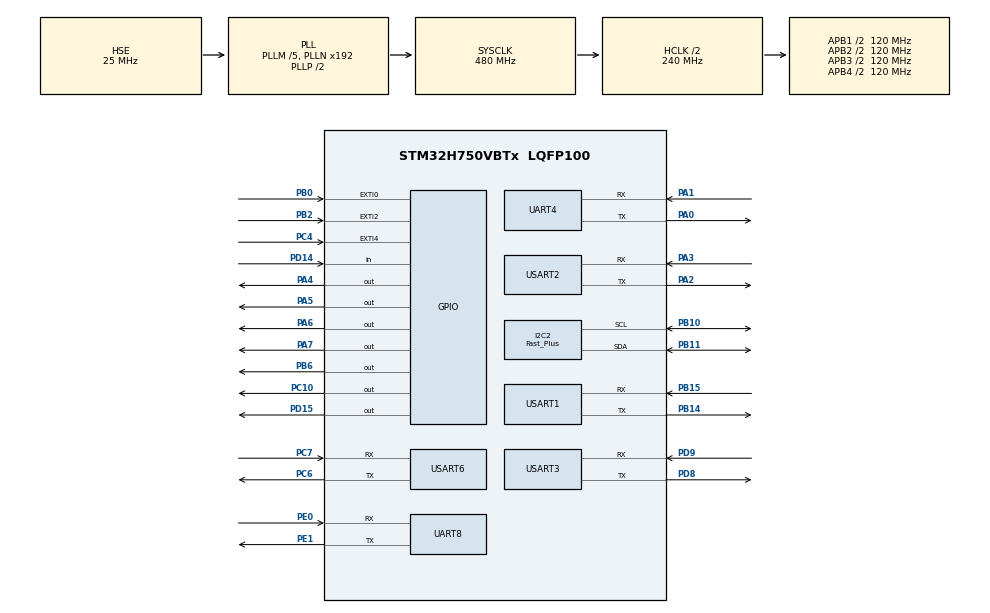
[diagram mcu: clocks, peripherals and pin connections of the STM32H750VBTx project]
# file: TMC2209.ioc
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CORTEX_M7.default_mode_Activation=1
I2C2.I2C_Speed_Mode=I2C_Fast_Plus
I2C2.Timing=0x0050174F
Mcu.Family=STM32H7
Mcu.Name=STM32H750VBTx
Mcu.Package=LQFP100
NVIC.EXTI0_IRQn=true\:0\:0\:false\:false\:true\:true\:true\:true
NVIC.EXTI2_IRQn=true\:0\:0\:false\:false\:true\:true\:true\:true
NVIC.EXTI4_IRQn=true\:0\:0\:false\:false\:true\:true\:true\:true
NVIC.PriorityGroup=NVIC_PRIORITYGROUP_4
NVIC.UART4_IRQn=true\:0\:0\:false\:false\:true\:true\:true\:true
NVIC.UART8_IRQn=true\:0\:0\:false\:false\:true\:true\:true\:true
NVIC.USART1_IRQn=true\:0\:0\:false\:false\:true\:true\:true\:true
NVIC.USART2_IRQn=true\:0\:0\:false\:false\:true\:true\:true\:true
NVIC.USART3_IRQn=true\:0\:0\:false\:false\:true\:true\:true\:true
NVIC.USART6_IRQn=true\:0\:0\:false\:false\:true\:true\:true\:true
PA0.Mode=Asynchronous
PA0.Signal=UART4_TX
PA1.Mode=Asynchronous
PA1.Signal=UART4_RX
PA13\ (JTMS/SWDIO).Mode=Serial_Wire
PA13\ (JTMS/SWDIO).Signal=DEBUG_JTMS-SWDIO
PA14\ (JTCK/SWCLK).Mode=Serial_Wire
PA14\ (JTCK/SWCLK).Signal=DEBUG_JTCK-SWCLK
PA2.Mode=Asynchronous
PA2.Signal=USART2_TX
PA3.Mode=Asynchronous
PA3.Signal=USART2_RX
PA4.GPIO_Speed=GPIO_SPEED_FREQ_VERY_HIGH
PA4.Signal=GPIO_Output
PA5.GPIO_Speed=GPIO_SPEED_FREQ_VERY_HIGH
PA5.Signal=GPIO_Output
PA6.GPIO_Speed=GPIO_SPEED_FREQ_VERY_HIGH
PA6.Signal=GPIO_Output
PA7.GPIO_Speed=GPIO_SPEED_FREQ_VERY_HIGH
PA7.Signal=GPIO_Output
PB0.GPIO_PuPd=GPIO_PULLUP
PB0.Signal=GPXTI0
PB10.Mode=I2C
PB10.Signal=I2C2_SCL
PB11.Mode=I2C
PB11.Signal=I2C2_SDA
PB14.Mode=Asynchronous
PB14.Signal=USART1_TX
PB15.Mode=Asynchronous
PB15.Signal=USART1_RX
PB2.GPIO_PuPd=GPIO_PULLUP
PB2.Signal=GPXTI2
PB6.GPIO_PuPd=GPIO_NOPULL
PB6.Signal=GPIO_Output
PC10.PinState=GPIO_PIN_SET
PC10.Signal=GPIO_Output
PC4.GPIO_PuPd=GPIO_PULLUP
PC4.Signal=GPXTI4
PC6.Mode=Asynchronous
PC6.Signal=USART6_TX
PC7.Mode=Asynchronous
PC7.Signal=USART6_RX
PD14.Signal=GPIO_Input
PD15.PinState=GPIO_PIN_SET
PD15.Signal=GPIO_Output
PD8.Mode=Asynchronous
PD8.Signal=USART3_TX
PD9.Mode=Asynchronous
PD9.Signal=USART3_RX
PE0.Mode=Asynchronous
PE0.Signal=UART8_RX
PE1.Mode=Asynchronous
PE1.Signal=UART8_TX
PH0-OSC_IN\ (PH0).Mode=HSE-External-Oscillator
PH0-OSC_IN\ (PH0).Signal=RCC_OSC_IN
PH1-OSC_OUT\ (PH1).Mode=HSE-External-Oscillator
PH1-OSC_OUT\ (PH1).Signal=RCC_OSC_OUT
ProjectManager.HeapSize=0x200
ProjectManager.StackSize=0x1000
ProjectManager.TargetToolchain=CMake
RCC.ADCFreq_Value=50390625
RCC.APB1Freq_Value=120000000
RCC.APB2Freq_Value=120000000
RCC.APB3Freq_Value=120000000
RCC.APB4Freq_Value=120000000
RCC.CortexFreq_Value=480000000
RCC.D1PPRE=RCC_APB3_DIV2
RCC.D2PPRE1=RCC_APB1_DIV2
RCC.D2PPRE2=RCC_APB2_DIV2
RCC.D3PPRE=RCC_APB4_DIV2
RCC.DIVM1=5
RCC.DIVN1=192
RCC.HCLKFreq_Value=240000000
RCC.HPRE=RCC_HCLK_DIV2
RCC.PLL2FRACN=0
RCC.PLL3FRACN=0
RCC.PLLFRACN=0
RCC.PLLSourceVirtual=RCC_PLLSOURCE_HSE
RCC.SYSCLKFreq_VALUE=480000000
RCC.SYSCLKSource=RCC_SYSCLKSOURCE_PLLCLK
RCC.USBFreq_Value=480000000
USART1.VirtualMode-Asynchronous=VM_ASYNC
USART2.VirtualMode-Asynchronous=VM_ASYNC
USART3.VirtualMode-Asynchronous=VM_ASYNC
USART6.VirtualMode=VM_ASYNC
VP_MEMORYMAP_VS_MEMORYMAP.Mode=CurAppReg
board=custom

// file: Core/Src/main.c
/* USER CODE BEGIN Header */
/**
  ******************************************************************************
  * @file           : main.c
  * @brief          : Main program body
  ******************************************************************************
  * @attention
  *
  * Copyright (c) 2025 STMicroelectronics.
  * All rights reserved.
  *
  * This software is licensed under terms that can be found in the LICENSE file
  * in the root directory of this software component.
  * If no LICENSE file comes with this software, it is provided AS-IS.
  *
  ******************************************************************************
  */
/* USER CODE END Header */
#include "main.h"
#include "i2c.h"
#include "memorymap.h"
#include "usart.h"
#include "gpio.h"

/* USER CODE BEGIN Includes */
#include <stdlib.h>
#include "math.h"
#include "TMC2209.h"
#include "Kalman.h"
#include "Zhangdatou.h"
#include "kalman_twice.h"
#include "stdarg.h"
#include "OLED.h"

#include "wit.h"
/* USER CODE END Includes */

/* USER CODE BEGIN PTD */
extern int lookup_table[];

#define CHEB_ORDER 6
#define X_MIN 0.000000f
#define X_MAX 6490.000000f
static const float cheb_coef[CHEB_ORDER+1] = {
    -836.2304769668f,
    -997.8101985323f,
    -13.4824721790f,
    -21.8237562184f,
    8.4930403253f,
    -10.0704451518f,
    6.1022329334f,
};

static inline float cheb_normalize(float x) {
    return (2.0f * x - (X_MAX + X_MIN)) / (X_MAX - X_MIN);
}

float cheb_eval(float x) {
    float xp = cheb_normalize(x);
    float T0 = 1.0f;
    float T1 = xp;
    float y = cheb_coef[0] * T0 + cheb_coef[1] * T1;
    for (int n = 2; n <= CHEB_ORDER; n++) {
        float Tn = 2.0f * xp * T1 - T0;
        y += cheb_coef[n] * Tn;
        T0 = T1;
        T1 = Tn;
    }
    return y-194.586731;
}

#define CHEB_ORDER2 6
#define X_MIN2 0.000000f
#define X_MAX2 6325.000000f
static const float cheb_coef2[CHEB_ORDER2+1] = {
    3055.9000644695f,
    2946.5198651746f,
    63.1994350443f,
    -198.8765504428f,
    -33.8485973053f,
    -131.5738849236f,
    -28.5150453190f,
};

static inline float cheb_normalize2(float x) {
    return (2.0f * x - (X_MAX2 + X_MIN2)) / (X_MAX2 - X_MIN2);
}

float cheb_eval2(float x) {
    float xp = cheb_normalize2(x);
    float T0 = 1.0f;
    float T1 = xp;
    float y = cheb_coef2[0] * T0 + cheb_coef2[1] * T1;
    for (int n = 2; n <= CHEB_ORDER2; n++) {
        float Tn = 2.0f * xp * T1 - T0;
        y += cheb_coef2[n] * Tn;
        T0 = T1;
        T1 = Tn;
    }
    return y-440.666595;
}

#include <math.h>

// Scaler parameters
float scaler_x_mean = 3162.5f;
float scaler_x_scale = 1826.1588786302248f;
float scaler_y_mean = 3037.9078406576036f;
float scaler_y_scale = 1788.344798268679f;

// Layer 0: 1 -> 10
float weights_0[1][10] = {
    {0.389808, -0.220694, -0.060530, 0.362304, -0.392653, -0.386696, -0.525085, 0.287447, 0.388318, -0.323335}
};
float biases_0[10] = {-0.154673, -0.076658, -0.136058, -0.081717, 0.143183, 0.106359, -0.078212, 0.059661, 0.084437, 0.027147};

// Layer 1: 10 -> 1
float weights_1[10][1] = {
    {0.445674},
    {-0.105056},
    {-0.673103},
    {0.569739},
    {-0.631793},
    {-0.440583},
    {0.071213},
    {-0.030064},
    {-0.067304},
    {-0.882389}
};
float biases_1[1] = {0.152199};

// tanh activation - 使用查表优化
#define TANH_TABLE_SIZE 2048
#define TANH_INPUT_RANGE 4.0f
static float tanh_table[TANH_TABLE_SIZE];

float fast_tanh(float x) {
    float abs_x = fabsf(x);
    if (abs_x >= TANH_INPUT_RANGE) return (x > 0) ? 1.0f : -1.0f;

    float scaled_x = (abs_x * TANH_TABLE_SIZE) / TANH_INPUT_RANGE;
    int index = (int)scaled_x;
    float frac = scaled_x - index;

    float y = tanh_table[index] +
              (index < TANH_TABLE_SIZE-1 ?
               (tanh_table[index+1] - tanh_table[index]) * frac : 0);

    return (x > 0) ? y : -y;
}

// 推理函数
float nn_predict(float input) {
    float x = (input - scaler_x_mean) / scaler_x_scale;
    float layer_0_out[10];

    // Layer 0
    for (int j = 0; j < 10; j++) {
        layer_0_out[j] = biases_0[j];
        layer_0_out[j] += weights_0[0][j] * x;
        layer_0_out[j] = fast_tanh(layer_0_out[j]);
    }

    // Layer 1
    float output = biases_1[0];
    for (int k = 0; k < 10; k++) {
        output += weights_1[k][0] * layer_0_out[k];
    }

    return output * scaler_y_scale + scaler_y_mean;
}

// 初始化tanh查找表
__attribute__((constructor))
void init_tanh_table() {
    for (int i = 0; i < TANH_TABLE_SIZE; i++) {
        float x = (float)i * TANH_INPUT_RANGE / TANH_TABLE_SIZE;
        tanh_table[i] = tanhf(x);
    }
}

void usart_printf(char *format,...)           //串口格式字符串输出
{
    int i =0;
    char String[100];         //定义输出字符串
    va_list arg;             //定义一个参数列表变量va_list是一个类型名，arg是变量名
    va_start(arg,format);     //从format位置开始接收参数表放在arg里面

    //sprintf打印位置是String，格式化字符串是format，参数表是arg，对于封装格式sprintf要改成vsprintf
    vsprintf(String,format,arg);
    va_end(arg);             //释放参数表
    while(1)
    {
        if(String[i] == 0)
        {
            return;
        }
        HAL_UART_Transmit(&huart8,(uint8_t *)&String[i], 1, 0xffff);
        i++;
    }
}

//按键外部中断
uint8_t PC4=0;
uint8_t PB0=0;
uint8_t PB2=0;

void HAL_GPIO_EXTI_Callback(uint16_t GPIO_Pin)
{
  switch (GPIO_Pin)
  {
  case GPIO_PIN_0:
    PB0=1;
    /* code */
    break;
  case GPIO_PIN_2:
    PB2=1;
    break;
  case GPIO_PIN_4:
    PC4=1;
    break;

  default:
    break;
  }
}

uint8_t arrow = 0;
uint8_t menu_state()   //菜单
{
  OLED_ShowStr(2,0,(uint8_t*)"track",16);
  OLED_ShowStr(2,2,(uint8_t*)"rightscan",16);
  OLED_ShowStr(2,4,(uint8_t*)"leftscan",16);
  OLED_ShowStr(2,6,(uint8_t*)"circle",16);
  if(PB0 ==1)
  {
    arrow--;
    OLED_FullyClear();
    OLED_ShowStr(100,arrow*2,(uint8_t*)"<",16);
    PB0 =0;
  }
  else if(PB2 ==1)
  {
    arrow++;
    OLED_FullyClear();
    OLED_ShowStr(100,arrow*2,(uint8_t*)"<",16);
    PB2=0;
  }
  else if(PC4 == 1)
  {
    HAL_GPIO_WritePin(GPIOC,GPIO_PIN_10,0);
    zhang_motor_enable_x(1);
  HAL_Delay(100);
  zhang_motor_enable_y(1);
  HAL_Delay(100);
    PC4 =0;
HAL_GPIO_WritePin(GPIOC,GPIO_PIN_10,1);

return arrow+1;
  }

  return 0;
}

uint32_t getMicros();

/**
 * pid运算函数
 */
float pid_calculate(pid_handler *pid,float err)
{
	if(fabs(err)>pid->err_limit)
  {
    return pid->OUT;
  }

  float POUT = err*(pid->P);
  uint32_t now_time = getMicros();
  float difftime = (now_time - pid->last_time)*1e-6f;
  if (difftime < 1e-6f) difftime = 1e-6f;

  pid->last_time = now_time;

  //pid->integral += difftime*(err+pid->previous)*0.5f*(pid->I);  //梯形积分

  pid->integral += difftime*(err);
  pid->integral = restrict(pid->integral,pid->inte_limit[0],pid->inte_limit[1]);

  float IOUT = pid->integral*(pid->I);

  pid->integral2 +=difftime*pid->integral;  //二次积分
  pid->integral2 = restrict(pid->integral,pid->inte_limit[0],pid->inte_limit[1]);

  //float I2OUT = pid->integral2*pid->I2;
  float DOUT=0;
  if((pid->d_state)==0)
  {
    DOUT = (err - pid->previous)*(pid->D)/difftime;   //pid周期微分项计算
  }
  else
  {
    DOUT = (pid->de)*pid->D;   //外部更新微分项
  }

  if((pid->previous)*err<=0)      //积分清零
  {
    pid->integral=0;
    pid->integral2=0;
  }
  pid->previous = err;

  pid->OUT += (POUT+IOUT+DOUT)*difftime;
  //pid->OUT = restrict(pid->OUT,pid->out_limit[0],pid->out_limit[1]);
  return pid->OUT;
}

float LowPassFilterRun(LowPassFilter *Filter,float x)   //低通滤波器
{
    unsigned long timestamp = getMicros();
    float dt = (timestamp - Filter->timestamp_prev)*1e-6f;

    if (dt < 0.0f ) dt = 1e-3f;
    else if(dt > 0.3f) {
        Filter->y_prev = x;
        Filter->timestamp_prev = timestamp;
        return x;
    }

    float alpha = (Filter->Tf)/((Filter->Tf) + dt);
    float y = alpha*(Filter->y_prev) + (1.0f - alpha)*x;
    Filter->y_prev = y;
    Filter->timestamp_prev = timestamp;
    return y;
}

/**
 * pid增量式(废弃)
 */
float pid_calculate_increment(pid_handler *pid,float err)
{
	uint32_t now_time = getMicros();
  float difftime = (now_time - pid->last_time)*1e-6f;
  if (difftime < 1e-6f) difftime = 1e-6f;
  pid->last_time = now_time;

  float POUT = (pid->P)*(err - pid->previous);
  float IOUT = (pid->I)*err*difftime;
  float DOUT = (pid->D)*(err - 2*(pid->previous)+pid->last_previous)/difftime;

  pid->last_previous = pid->previous;
  pid->previous = err;

  pid->OUT += POUT+IOUT+DOUT;
  //pid->OUT = restrict(pid->OUT,pid->out_limit[0],pid->out_limit[1]);
  return pid->OUT;
}

/**
 * pid结构体复位
 */
void pid_reset(pid_handler *pid) {
    pid->integral = 0;
    pid->integral2 = 0;
    pid->previous = 0;
    pid->last_previous = 0;
    pid->OUT = 0;
    pid->last_time = getMicros();
}

uint32_t getMicros()   //获取微秒
{
  /* Ensure COUNTFLAG is reset by reading SysTick control and status register */
   (void)SysTick->CTRL;
  uint32_t m = HAL_GetTick();
  const uint32_t tms = SysTick->LOAD + 1;
  __IO uint32_t u = tms - SysTick->VAL;
  if (SysTick->CTRL &SysTick_CTRL_COUNTFLAG_Msk) {
    m = HAL_GetTick();
    u = tms - SysTick->VAL;
  }
  return (m * 1000 + (u * 1000) / tms);
}

void delay_us(uint32_t time)   //微秒延时
{
  uint32_t tick = getMicros();
  while ((getMicros()-tick)<time);
}

int pul_speed = 10;   //脉冲间隔(us)，运行插补算法时通过该值调节响应速度

void generate_pul_2()
{
  HAL_GPIO_WritePin(GPIOA,GPIO_PIN_4,1);
  delay_us(pul_speed);
  HAL_GPIO_WritePin(GPIOA,GPIO_PIN_4,0);
  delay_us(pul_speed);
}

void generate_pul_1()
{
  HAL_GPIO_WritePin(GPIOA,GPIO_PIN_6,1);
  delay_us(pul_speed);
  HAL_GPIO_WritePin(GPIOA,GPIO_PIN_6,0);
  delay_us(pul_speed);
}
void set_dir_2(uint8_t dir)
{
  HAL_GPIO_WritePin(GPIOA,GPIO_PIN_5,dir);
}
void set_dir_1(uint8_t dir)
{
  HAL_GPIO_WritePin(GPIOA,GPIO_PIN_7,!dir);
}

/**
 * x轴步进
 */
void step_motor1(uint8_t dir) {
    set_dir_1(dir);
    generate_pul_1();
}
/**
 * y轴步进
 */
void step_motor2(uint8_t dir) {
    set_dir_2(dir);
    generate_pul_2();
}

// int current_x=0;
// int current_y=0;

//废弃
// void bresenham_line(int x0, int y0, int x1, int y1)
// {
//     int dx = abs(x1 - x0);
//     int dy = abs(y1 - y0);
//     int sx = (x0 < x1) ? 1 : -1;
//     int sy = (y0 < y1) ? 1 : -1;
//     int err = dx - dy;

//     if(sx ==1)
//     {
//       set_dir_2(1);
//     }
//     else
//     {
//       set_dir_2(0);
//     }

//     if(sy ==1)
//     {
//       set_dir_1(1);
//     }
//     else
//     {
//       set_dir_1(0);
//     }
//     while (1) {

//         if (x0 == x1 && y0 == y1)
//             break;

//         int e2 = 2 * err;

//         if (e2 > -dy) {
//             err -= dy;
//             x0 += sx;
//             generate_pul_2();
//         }

//         if (e2 < dx) {
//             err += dx;
//             y0 += sy;
//             generate_pul_1();
//         }
//     }
// }
#define DIR_CW    1     // 顺时针方向
#define DIR_CCW   0     // 逆时针方向
// 改进的Bresenham直线插补算法
void bresenham_line(int x0, int y0, int x1, int y1)
{
    if(x0 == x1 && y0 == y1) {
        return;  // 如果重合直接返回，不执行任何动作
    }
    int dx = abs(x1 - x0);
    int dy = abs(y1 - y0);
    int dir_x = x0 < x1 ? DIR_CW : DIR_CCW;
    int dir_y = y0 < y1 ? DIR_CW : DIR_CCW;

    // 确定主轴和从轴
    int is_x_major = (dx >= dy);
    int major_steps = is_x_major ? dx : dy;
    int minor_steps = is_x_major ? dy : dx;

    // 初始化误差
    int error = major_steps / 2;

    // 记录当前位置
    int x = x0;
    int y = y0;

    // 执行插补
    for(int i = 0; i <= major_steps; i++) {
        // 主轴总是需要步进
        if(is_x_major) {
            step_motor2(dir_x);
            x += (dir_x == DIR_CW) ? 1 : -1;
        } else {
            step_motor1(dir_y);
            y += (dir_y == DIR_CW) ? 1 : -1;
        }

        // 判断从轴是否需要步进
        error -= minor_steps;
        if(error < 0) {
            if(is_x_major) {
                step_motor1(dir_y);
                y += (dir_y == DIR_CW) ? 1 : -1;
            } else {
                step_motor2(dir_x);
                x += (dir_x == DIR_CW) ? 1 : -1;
            }
            error += major_steps;
        }

    }
}

float current_x = 0;   //当前x脉冲计数
float current_y = 0;   //当前y脉冲计数

//绝对脉冲插补控制,阻塞式步进，返回后脉冲计数已达到目标位置
void move_to_position(float target_x, float target_y)
{
    bresenham_line(current_x, current_y, (int)target_x, (int)target_y);
    current_x = target_x;
    current_y = target_y;
}

//相对脉冲插补控制(废弃)
void move_to_pul(float target_pulx, float target_puly)
{
  bresenham_line(0, 0, (int)target_pulx, (int)target_puly);
}

float theta=0;
float r = 100;
float ex=0,ey=0;

void draw_circle()
{
     ex =r* cos(theta);
     ey =r* sin(theta);
    theta +=0.001;
    move_to_position(ex,ey);
    // HAL_Delay(10);
}

uint8_t stagex =1;
void draw_cos()   //正弦绘制
{
    // ex =r* cos(theta);
     ey =r* sin(theta);

     if(stagex)
     {
        ex+=0.02;
        if(ex>800)
        {
          stagex =0;
        }
     }
     else
     {
      ex-=0.02;
        if(ex<0)
        {
          stagex =1;
        }
     }
    theta +=0.0005;
    move_to_position(ex,ey);
    // HAL_Delay(10);
}

void laser_enable(uint8_t i)   //开关激光
{
  HAL_GPIO_WritePin(GPIOB,GPIO_PIN_6,i);
}

extern const int (*all_contours[])[2];  //轮廓集合
extern const int contour_lengths[]; //轮廓点数量
uint8_t st =0;  //判定绘制过程或移动过程
void draw_counter()   //轮廓绘制
{
  pul_speed = 500;
    for (int i = 0; i < 101; i++) {
        const int (*path)[2] = all_contours[i];
        int len = contour_lengths[i];
        for (int j = 0; j < len; j++) {
            int x = path[j][0]*2;
            int y = path[j][1]*2;
            if(st==1)
            {
              laser_enable(1);
            }
            move_to_position(x, y);
            st = 1;
        }
        st = 0;
        laser_enable(0);
    }
}

/**
 * 串口收发区
 */

uint8_t Maixcam_RX_stage=0;
uint8_t Maixcam_RX_data;
uint8_t Maixcam_RX_fifo[2000] = {0};
int Maixcam_RX_count =0;

void maixcam_RX_finish();    //maixcam数据包接收完成回调
void Maixcam_RX_callback()   //maixcam串口回调
{
  switch (Maixcam_RX_stage)
  {
  case 0:
    if(Maixcam_RX_data == 0xAA)
    {
      Maixcam_RX_stage = 1;
    }
    break;
  case 1:
    if(Maixcam_RX_data == 0x12)
    {
      Maixcam_RX_stage = 2;
    }
    else
    {
      Maixcam_RX_stage = 0;
    }
    break;
  case 2:
    Maixcam_RX_fifo[Maixcam_RX_count++] = Maixcam_RX_data;
    if(Maixcam_RX_data == 0x89)
    {

      Maixcam_RX_stage =3;
    }
    break;
  case 3:
    if(Maixcam_RX_data == 0x78)
    {
      Maixcam_RX_stage =0;
      maixcam_RX_finish();

      Maixcam_RX_count=0;
    }
    else
    {
      Maixcam_RX_fifo[Maixcam_RX_count++] = Maixcam_RX_data;
      if(Maixcam_RX_data != 0x89)
      {Maixcam_RX_stage =2;}

    }
    break;

  }
HAL_UART_Receive_IT(&huart1,&Maixcam_RX_data,1);
}

//g3507编码器通讯

uint8_t g3507_RX_data=0;
uint8_t g3507_RX_stage=0;
uint8_t g3507_RX_fifo[20] = {0};
int g3507_RX_count =0;

void g3507_RX_finish();
void m0g3507_RX_callback()
{
  switch (g3507_RX_stage)
  {
  case 0:
    if(g3507_RX_data == 0xCA)
    {
      g3507_RX_stage = 1;
    }
    break;
  case 1:
    if(g3507_RX_data == 0xAC)
    {
      g3507_RX_stage = 2;
    }
    else
    {
      g3507_RX_stage = 0;
    }
    break;
  case 2:
    g3507_RX_fifo[g3507_RX_count++] = g3507_RX_data;
    if(g3507_RX_data == 0x12)
    {

      g3507_RX_stage =3;
    }
    break;
  case 3:
    if(g3507_RX_data == 0x23)
    {
      g3507_RX_stage =0;
      g3507_RX_finish();

      g3507_RX_count=0;
    }
    else
    {
      g3507_RX_fifo[g3507_RX_count++] = g3507_RX_data;
      if(g3507_RX_data != 0x89)
      {g3507_RX_stage =2;}

    }
    break;

  }

  HAL_UART_Receive_IT(&huart4,&g3507_RX_data,1);
}

int nxc1=0;
int nyc1=0;

extern int nxc;  //当前坐标
extern int nyc; //当前坐标

KFPTypeS_Struct kfpVarx =
{
   10.00, //P估算协方差. 初始化值为 0.02
   0, //G卡尔曼增益. 初始化值为 0
   0.6, //Q过程噪声协方差,Q增大，动态响应变快，收敛稳定性变坏. 初始化值为 0.001
   0.2, //R测量噪声协方差,R增大，动态响应变慢，收敛稳定性变好. 初始化值为 1
   0 //卡尔曼滤波器输出. 初始化值为 0
};

KFPTypeS_Struct kfpVary =
{
   10.000, //P估算协方差. 初始化值为 0.02
   0, //G卡尔曼增益. 初始化值为 0
   0.6, //Q过程噪声协方差,Q增大，动态响应变快，收敛稳定性变坏. 初始化值为 0.001
   0.2, //R测量噪声协方差,R增大，动态响应变慢，收敛稳定性变好. 初始化值为 1
   0 //卡尔曼滤波器输出. 初始化值为 0
};

extern int exc;  //激光x坐标
extern int eyc;  //激光y坐标
int ridus=0;

extern int nspeedx;   //目标移动速度
extern int last_lx; //上次位置

extern int nspeedy;   //目标移动速度
extern int last_ly; //上次位置

float* kalman_x_redata;
float* kalman_y_redata;

// pid_handler pidx;
// pid_handler pidy;

void maixcam_RX_finish()  //maixcam数据包接收完成回调
{
  nxc1 =   *(int*)&Maixcam_RX_fifo[0];
  nyc1 =   *(int*)&Maixcam_RX_fifo[4];
  exc = *(int*)&Maixcam_RX_fifo[8];
  eyc = *(int*)&Maixcam_RX_fifo[12];
  ridus = *(int*)&Maixcam_RX_fifo[16];
  // exc = *(int*)&Maixcam_RX_fifo[8];
  // eyc = *(int*)&Maixcam_RX_fifo[12];

  // kalman_x_redata = kalman_calcu_x(nxc1);
  // kalman_y_redata = kalman_calcu_y(nyc1);
  // nxc = kalman_x_redata[0];
  // nyc = kalman_y_redata[0];

  // nxc = nxc1;
  // nyc = nyc1;

  // uint32_t ntime = getMicros();
  // float difftime = ntime-last_us_tick;
  // last_us_tick = ntime;
  // pidx.de = (nxc - last_lx)/difftime;
  // last_lx = nxc;

  // pidy.de = (nyc - last_ly)/difftime;
  // last_ly = nyc;

//usart_printf("%d,%d,%d,%d\n",nxc1,nyc1,nxc,nyc);
}

int enconter =0;
uint8_t turn=0;
uint8_t turn_count=0;

void g3507_RX_finish()
{
  enconter = *(int*)(&g3507_RX_fifo[0]);
  turn = *(uint8_t*)(&g3507_RX_fifo[4]);
  turn_count = *(uint8_t*)(&g3507_RX_fifo[5]);
}

//陀螺仪区
extern SensorData wit_data;

//不行的官方库
// float lastyaw = 0;

// 	float fAcc[3], fGyro[3], fAngle[3];
// 	int i;
// #define ACC_UPDATE		0x01
// #define GYRO_UPDATE		0x02
// #define ANGLE_UPDATE	0x04
// #define MAG_UPDATE		0x08
// #define READ_UPDATE		0x80
// static volatile char s_cDataUpdate1 = 0,s_cDataUpdate2 = 0,s_cDataUpdate3 = 0,s_cDataUpdate4 = 0, s_cCmd = 0xff;

// extern uint8_t ucRegIndex;
// extern uint16_t usRegDataBuff[4];
// extern uint32_t uiRegDataLen;
// uint8_t JY901_RX_data=0;
// void jy901_callback()
// {
//   WitSerialDataIn(JY901_RX_data);
// HAL_UART_Receive_IT(&huart6,&JY901_RX_data,1);

// }
// static void JY901_SensorUartSend(uint8_t *p_data, uint32_t uiSize)
// {
// 	HAL_UART_Transmit(&huart6,p_data,uiSize,0xff);
// }
// static void JY901_SensorDataUpdata(uint32_t uiReg, uint32_t uiRegNum)
// {
// 	int i;
//     for(i = 0; i < uiRegNum; i++)
//     {
//         switch(uiReg)
//         {
// //            case AX:
// //            case AY:
//             case AZ:
// 				s_cDataUpdate1 |= ACC_UPDATE;
//             break;
// //            case GX:
// //            case GY:
//             case GZ:
// 				s_cDataUpdate2 |= GYRO_UPDATE;
//             break;
// //            case HX:
// //            case HY:
//             case HZ:
// 				s_cDataUpdate4 |= MAG_UPDATE;
//             break;
// //            case Roll:
// //            case Pitch:
//             case Yaw:
// 				s_cDataUpdate3 |= ANGLE_UPDATE;
//             break;
// //            default:
// //				s_cDataUpdate1 |= READ_UPDATE;
// //			break;
//         }
// 		uiReg++;
//     }
// }
//陀螺仪区end

/**
 * 串口收发区end
 */

/**
 * pid控制区
 */

uint8_t control_state=0;//控制选项  1:跟踪控制 ,2:右扫描,3:左扫描 .4:角度控制,0菜单
uint8_t laser_control = 1; // 0:闭环激光控制1：开环激光控制
float init_angle_pid=0;
float init_acc_pid=0;

int nspeedx =0;
int last_lx=0;
int nspeedy =0;
int last_ly=0;

int nxc=0;  //当前x坐标
int nyc=0;  //当前y坐标

int exc=210;  //期望x坐标
int eyc=225;  //期望y坐标

int oexc=195;//开环期望坐标
int oeyc=240;

float exangle = 0; //期望角度，角度环

//参数结构体

pid_handler pidx = //x位置环
{
  .P = 40,
  .I = 40,
  .D = 6,
  .I2 = 0,
  .out_limit = {-10000,10000},
  .inte_limit = {-1000,1000},
  .d_state=0,     //外部微分
  .err_limit = 50,
  .acc_Feed =0    //外部前馈
};

pid_handler pidx1 = //x位置环,近段
{
  .P = 50,
  .I = 80,
  .D = 2,
  .I2 = 4,
  .out_limit = {-10000,10000},
  .inte_limit = {-1000,1000},
  .d_state=0,     //外部微分
  .err_limit = 50,
  .acc_Feed =0    //外部前馈
};

pid_handler * pidxstr =&pidx ;

pid_handler pidy = //y位置环
{
  .P = 25,
  .I = 20,
  .D = 4,
  .I2 =0,
  .out_limit = {-10000,10000},
  .inte_limit = {-5000,5000},
  .d_state=0,
  .err_limit = 50,
  .acc_Feed =0
};

pid_handler pidAx = //角度环
{
  .P = 0,
  .I = 0,
  .D = 0,
  .I2 = 0,
  .out_limit = {-10000,10000},
  .inte_limit = {-5000,5000},
  .d_state =1,
  .err_limit = 50,
  .acc_Feed =0
};

float compensate = 0.07;
float maxcompensate = 0.145;
float mincompensate = 0.07;

float angle1_pul =8148.733086305041191366848684672;//弧度补偿
float angle_pul=142.2222222222222; //角度补偿系数
float acc_pul =0;//加速度补偿系数，没使用
float dis_para[4] = {
  -3726,-10934,-3000,3720
}; //编码器位置角度补偿距离系数

float theta1=0;
float r1 = 100;
float excir = 0;
float eycir = 0;

void draw_circle_1()
{
     excir =ridus* cos(-theta1) +nxc;
     eycir =ridus* sin(-theta1) +nyc;
    //theta1 +=0.00001;
    theta1 = (enconter/26800.0f)*2*3.1415926;

    //move_to_position(ex,ey);
    // HAL_Delay(10);
}

float a1=0;  //pid输出1
float a2=0;  //pid输出2
float an1=0;  //角度补偿输出
float enn1=0; //编码器位置角度补偿输出

static uint8_t Tfirstrun=1; //pid初始运行标志位

uint8_t state_qu=0;

//debug
float pxerr =0;
float therr=0;
//debug

uint64_t tick_angle_buchang=0;
uint64_t tick_kalman=0;

uint8_t circle_state=0;

extern float facc;

int ennerr = 0;
int ennout=0;
uint8_t stage=0;
uint8_t c=0;
uint8_t last_c=0;
uint8_t c_change=0;

float feedenn=0;

float enn2=0;

float fitting_calcu_0(int num)
{
  float y = 0.000018*num*num + -0.361413*num;
  return y;
}

float fitting_calcu_1(int num)
{
  //float y =0.000021*num*num + -0.467049*num + 180.342935;
// float y = 2420.123779 * atan(num / -5473.023949) + 177.338986;

 float y = cheb_eval(num);
  return y;
}

float fitting_calcu_2(int num)
{
  //float y =0.000021*num*num + -0.467049*num + 180.342935;
// float y = 2420.123779 * atan(num / -5473.023949) + 177.338986;

 float y = 0.000003*num*num + -0.219962*num;
  return y;
}

float fitting_calcu_3(int num)
{
  //float y =0.000021*num*num + -0.467049*num + 180.342935;
// float y = 2420.123779 * atan(num / -5473.023949) + 177.338986;

 float y = nn_predict(num);
  return y;
}

void enconter_to_angle()  //编码器转换角度
{
  if( (turn_count-1)%4<0)
  {
    return;
  }
  c = (turn_count-1)%4;

  // if(c!= last_c)
  // {
  //   c_change=1;
  // }
  // last_c = c;

  if(turn ==2)
  {
    feedenn=0;
    // ennout = enconter;
    enn2 = enn1;
    stage =1;
    return;
  }

  if(stage==1)
  {
    ennerr = enconter;

    stage=0;
  }

  if(c ==3)
  {
    if((enconter-ennerr)<1000)
    {
      feedenn = (enconter-ennerr)*-1;
    }
  }

  if(dis_para[c]<0)
  {
    enn1 = -1*atan((enconter-ennerr)/(-dis_para[c]))*angle1_pul+enn2+feedenn;
  }
  else
  {
    enn1 = atan((enconter-ennerr)/dis_para[c])*angle1_pul+enn2+feedenn;
  }

  switch (c)
  {
  case 0:
    enn1 = fitting_calcu_0(enconter-ennerr)+enn2+feedenn;
    break;

  case 2:
    enn1 = fitting_calcu_2(enconter-ennerr)+enn2+feedenn;
    break;

  default:
    break;
  }

  // if(stage ==1)
  // {
  //   ennerr =  enn1 - ennout;
  //   stage =0;
  // }
  // enn1 = enn1 -  ennerr;

//enn1 = atan(enconter/dis_para[3])*angle1_pul;

}

int last_counter=0;

void track_pid_run()    //追踪pid运行
{

  if(Tfirstrun)            //判断是否要初始化pid结构体
  {
      //zhang_motor_openloop_y();//设置y轴开环模式
     tick_angle_buchang = getMicros();
    pid_reset(&pidx);
    pid_reset(&pidy);
    pid_reset(&pidx1);
    Tfirstrun =0;
    init_angle_pid= wit_data.yaw;
    init_acc_pid = facc;
  }
  //pidx.de = wit_data.gyro[2];

  //pidx.acc_Feed = (facc-init_acc_pid)*acc_pul;   //加速度前馈补偿

  if((getMicros()-tick_kalman)>20000)
  {
    nxc = KalmanFilter(&kfpVarx,nxc1);
    nyc = KalmanFilter(&kfpVary,nyc1);
    tick_kalman = getMicros();
  }

  enconter_to_angle();

  if(laser_control==0) //激光点闭环标志位
  {
  a1 = pid_calculate(&pidx,nxc-exc);
  a2 = pid_calculate(&pidy,nyc-eyc);
  }
  else
  {
  if(circle_state ==1)
  {
    draw_circle_1();
    a1 = pid_calculate(pidxstr,excir-oexc);
    a2 = pid_calculate(&pidy,eycir-oeyc);
  }
  else
  {
    a1 = pid_calculate(pidxstr,nxc-oexc);
    a2 = pid_calculate(&pidy,nyc-oeyc);
  }

    //   if(c_change)
    // {
    //     if(c==3)
    //     {
    //       pidx1.OUT = pidx.OUT;
    //       pidx1.last_time = getMicros();
    //       pidxstr = &pidx1;
    //     }
    //     else if(c==0)
    //     {
    //       pidx.OUT = pidx1.OUT;
    //       pidx.last_time = getMicros();
    //       pidxstr = &pidx;
    //     }
    //     c_change=0;
    // }

  }

  // a1 = KalmanFilter(&kfpVarx,a1);
  // a2 = KalmanFilter(&kfpVary,a2);

  // a1 = pid_calculate(&pidx,excir-exc);
  // a2 = pid_calculate(&pidy,eycir-eyc);
  //draw_circle_1();

  if((getMicros()-tick_angle_buchang)>1000)   //1000us运行周期
  {

//     if(fabs(wit_data.gyro[2])>60)   //角速度补偿
//     {
//       compensate = maxcompensate;
//     }
//     else
//     {
//       compensate = mincompensate;
//     }

// an1 += compensate*wit_data.gyro[2];
    //角度补偿
    an1 = angle_pul*(wit_data.yaw-init_angle_pid);

     tick_angle_buchang = getMicros();

  }

  if(state_qu==0)
  {
    move_to_position(a1+an1+enn1,a2);
    //move_to_position(fitting_calcu_3(enconter),a2);
  }
  else
  {
    move_to_position(a1,a2);
  }

  //debug,发送脉冲信息

  // if(enconter >= last_counter+1)
  // {
  //   int data = a1+an1+enn1;
  //   int err = enconter - last_counter;
  //   for (int i = 0; i < err; i++)
  //   {
  //     HAL_UART_Transmit(&huart8,(uint8_t*)&data,4,0xffff);
  //   }

  //   last_counter =enconter;
  // }

  //debug

}

float init_angle=0;
static uint8_t Afirstrun=1; //pid初始运行标志位
void angle_pid_run()        //角度环pid
{
  if(Afirstrun)            //判断是否要初始化pid结构体
  {
    pid_reset(&pidAx);
    Afirstrun =0;
    exangle = wit_data.yaw;

  }
  pidAx.de = wit_data.gyro[2];
  a1 = pid_calculate(&pidAx,wit_data.yaw-exangle);

  move_to_position(a1,a2);
}

//参数结构体
pid_handler Ppidx = //位置环(->角度环)xpid参数
{
  .P = 0,
  .I = 0,
  .D = 0,
  .I2 = 0,
  .out_limit = {-10000,10000},
  .inte_limit = {-5000,5000},
  .d_state=0,
  .err_limit = 100
};

static uint8_t Pfirstrun=1;
void position_pid_run()
{
  if(Pfirstrun)            //判断是否要初始化pid结构体
  {
    pid_reset(&Ppidx);
    Pfirstrun =0;
  }

exangle = pid_calculate(&Ppidx,nxc-exc);

}

int laser_ms_tick=0;
void right_scan()  //向右扫描
{
  static uint8_t i=1;
  if(i)
  {
  laser_control=1;
    //zhang_y_zero();
   //HAL_Delay(50);

  laser_enable(0);
    i=0;
  }
  step_motor2(1);
  delay_us(120);
  if((nxc!=0&&nyc!=0)&&(abs(nxc-oexc)<50)&&(abs(nyc-oeyc)<70))
  {
    HAL_Delay(200);
    control_state = 1;
    current_x=0;
    current_y=0;
    laser_ms_tick = HAL_GetTick();
    Tfirstrun = 1;
  }
}

void left_scan()  //向左扫描
{
  static uint8_t i=1;
  if(i)
  {
  laser_control=1;
    //zhang_y_zero();
   //HAL_Delay(50);

  laser_enable(0);
    i=0;
  }
  step_motor2(0);
  delay_us(120);           //120us生成一次脉冲0
  if((nxc!=0&&nyc!=0)&&(abs(nxc-oexc)<50)&&(abs(nyc-oeyc)<70))    //检测目标
  {
    HAL_Delay(200);
    control_state = 1;
    current_x=0;
    current_y=0;
    laser_ms_tick = HAL_GetTick();
    Tfirstrun = 1;
  }
}

/* USER CODE END PTD */

/* USER CODE BEGIN PD */

float xan = 0;
float yan = 0;

/* USER CODE END PD */

void SystemClock_Config(void);
static void MPU_Config(void);

int main(void)
{

  /* USER CODE BEGIN 1 */
  SCB_EnableICache();
  /* USER CODE END 1 */

  /* MPU Configuration--------------------------------------------------------*/
  MPU_Config();

  /* MCU Configuration--------------------------------------------------------*/

  /* Reset of all peripherals, Initializes the Flash interface and the Systick. */
  HAL_Init();

  /* Configure the system clock */
  SystemClock_Config();

  /* Initialize all configured peripherals */
  MX_GPIO_Init();
  MX_USART1_UART_Init();
  MX_USART2_UART_Init();
  MX_USART3_UART_Init();
  MX_UART8_Init();
  MX_I2C2_Init();
  MX_USART6_UART_Init();
  MX_UART4_Init();
  /* USER CODE BEGIN 2 */
  //motor_kalman_init();
  //tms2209_init();   //tms2209初始化
  // WitInit(WIT_PROTOCOL_NORMAL, 0x50);  //陀螺仪初始化
  // WitSerialWriteRegister(JY901_SensorUartSend);  //注册陀螺仪发送函数
  // WitRegisterCallBack(JY901_SensorDataUpdata);   //注册接收回调函数
  // WitDelayMsRegister(HAL_Delay);    //注册ms延时函数
  HAL_UART_RegisterCallback(&huart6,HAL_UART_RX_COMPLETE_CB_ID,WIT_callback);
  HAL_UART_Receive_IT(&huart6,&rx_buffer2,1);

  HAL_UART_RegisterCallback(&huart1,HAL_UART_RX_COMPLETE_CB_ID,Maixcam_RX_callback);
  HAL_UART_Receive_IT(&huart1,&Maixcam_RX_data,1);

  HAL_UART_RegisterCallback(&huart4,HAL_UART_RX_COMPLETE_CB_ID,m0g3507_RX_callback);
  HAL_UART_Receive_IT(&huart4,&g3507_RX_data,1);

  zhang_motor_init();

  OLED_Init();
  OLED_FullyClear();
init_tanh_table();

  //zhang_get_y_angle();
  HAL_Delay(100);
//zhang_y_zero();
//zhang_motor_closeloop_y();     //设置闭环模式
//HAL_Delay(100);
//zhang_motor_current(700);     //设置电流
// HAL_Delay(100);
// zhang_motor_256_microsteps();//设置256细分
// HAL_Delay(100);
    zhang_motor_enable_x(0);
  HAL_Delay(100);
  zhang_motor_enable_y(0);
  HAL_Delay(100);

laser_enable(0);
  // laser_enable(0);

  /* USER CODE END 2 */

  /* Infinite loop */
  /* USER CODE BEGIN WHILE */
  while (1)
  {

   //draw_counter();
    //draw_circle();
    //draw_cos();
  // move_to_position(0,500);
  // move_to_position(0,0);
  // move_to_position(500,500);
  // move_to_position(0,500);
 //usart_printf("%d\n",enconter);

  switch (control_state)
  {
case 0:

  control_state = menu_state(); //菜单
    break;

    //  case 4:
    //  laser_control =0;
    // draw_circle_1();

  case 1:

    if((HAL_GetTick()-laser_ms_tick)>1000)     //设置laser_ms_tick后,大于1s后自动开启激光
    {
      laser_enable(1);
    }
    if(nxc1!=0&&nyc1!=0)   //追踪控制
    {
      //draw_circle_1();
    track_pid_run();
    }
    else
    {
    pid_reset(&pidx);
    pid_reset(&pidy);
    }
    break;
  case 2:
    state_qu = 1;
    right_scan();  //向左扫描，找到目标后进入目标追踪
    break;
  case 3:
    state_qu = 1;
    left_scan();
    break;
  case 4:
    circle_state =1;
    control_state =1;
    break;
  case 5:
    draw_counter();
    break;

  default:
    break;
  }

    /* USER CODE END WHILE */

  }
}

void SystemClock_Config(void)
{
  RCC_OscInitTypeDef RCC_OscInitStruct = {0};
  RCC_ClkInitTypeDef RCC_ClkInitStruct = {0};

  /** Supply configuration update enable
  */
  HAL_PWREx_ConfigSupply(PWR_LDO_SUPPLY);

  /** Configure the main internal regulator output voltage
  */
  __HAL_PWR_VOLTAGESCALING_CONFIG(PWR_REGULATOR_VOLTAGE_SCALE0);

  while(!__HAL_PWR_GET_FLAG(PWR_FLAG_VOSRDY)) {}

  /** Initializes the RCC Oscillators according to the specified parameters
  * in the RCC_OscInitTypeDef structure.
  */
  RCC_OscInitStruct.OscillatorType = RCC_OSCILLATORTYPE_HSE;
  RCC_OscInitStruct.HSEState = RCC_HSE_ON;
  RCC_OscInitStruct.PLL.PLLState = RCC_PLL_ON;
  RCC_OscInitStruct.PLL.PLLSource = RCC_PLLSOURCE_HSE;
  RCC_OscInitStruct.PLL.PLLM = 5;
  RCC_OscInitStruct.PLL.PLLN = 192;
  RCC_OscInitStruct.PLL.PLLP = 2;
  RCC_OscInitStruct.PLL.PLLQ = 2;
  RCC_OscInitStruct.PLL.PLLR = 2;
  RCC_OscInitStruct.PLL.PLLRGE = RCC_PLL1VCIRANGE_2;
  RCC_OscInitStruct.PLL.PLLVCOSEL = RCC_PLL1VCOWIDE;
  RCC_OscInitStruct.PLL.PLLFRACN = 0;
  if (HAL_RCC_OscConfig(&RCC_OscInitStruct) != HAL_OK)
  {
    Error_Handler();
  }

  /** Initializes the CPU, AHB and APB buses clocks
  */
  RCC_ClkInitStruct.ClockType = RCC_CLOCKTYPE_HCLK|RCC_CLOCKTYPE_SYSCLK
                              |RCC_CLOCKTYPE_PCLK1|RCC_CLOCKTYPE_PCLK2
                              |RCC_CLOCKTYPE_D3PCLK1|RCC_CLOCKTYPE_D1PCLK1;
  RCC_ClkInitStruct.SYSCLKSource = RCC_SYSCLKSOURCE_PLLCLK;
  RCC_ClkInitStruct.SYSCLKDivider = RCC_SYSCLK_DIV1;
  RCC_ClkInitStruct.AHBCLKDivider = RCC_HCLK_DIV2;
  RCC_ClkInitStruct.APB3CLKDivider = RCC_APB3_DIV2;
  RCC_ClkInitStruct.APB1CLKDivider = RCC_APB1_DIV2;
  RCC_ClkInitStruct.APB2CLKDivider = RCC_APB2_DIV2;
  RCC_ClkInitStruct.APB4CLKDivider = RCC_APB4_DIV2;

  if (HAL_RCC_ClockConfig(&RCC_ClkInitStruct, FLASH_LATENCY_4) != HAL_OK)
  {
    Error_Handler();
  }
}

 /* MPU Configuration */

void MPU_Config(void)
{
  MPU_Region_InitTypeDef MPU_InitStruct = {0};

  /* Disables the MPU */
  HAL_MPU_Disable();

  /** Initializes and configures the Region and the memory to be protected
  */
  MPU_InitStruct.Enable = MPU_REGION_ENABLE;
  MPU_InitStruct.Number = MPU_REGION_NUMBER0;
  MPU_InitStruct.BaseAddress = 0x0;
  MPU_InitStruct.Size = MPU_REGION_SIZE_4GB;
  MPU_InitStruct.SubRegionDisable = 0x87;
  MPU_InitStruct.TypeExtField = MPU_TEX_LEVEL0;
  MPU_InitStruct.AccessPermission = MPU_REGION_NO_ACCESS;
  MPU_InitStruct.DisableExec = MPU_INSTRUCTION_ACCESS_DISABLE;
  MPU_InitStruct.IsShareable = MPU_ACCESS_SHAREABLE;
  MPU_InitStruct.IsCacheable = MPU_ACCESS_NOT_CACHEABLE;
  MPU_InitStruct.IsBufferable = MPU_ACCESS_NOT_BUFFERABLE;

  HAL_MPU_ConfigRegion(&MPU_InitStruct);
  /* Enables the MPU */
  HAL_MPU_Enable(MPU_PRIVILEGED_DEFAULT);

}

void Error_Handler(void)
{
  __disable_irq();
  while (1)
  {
  }
}
